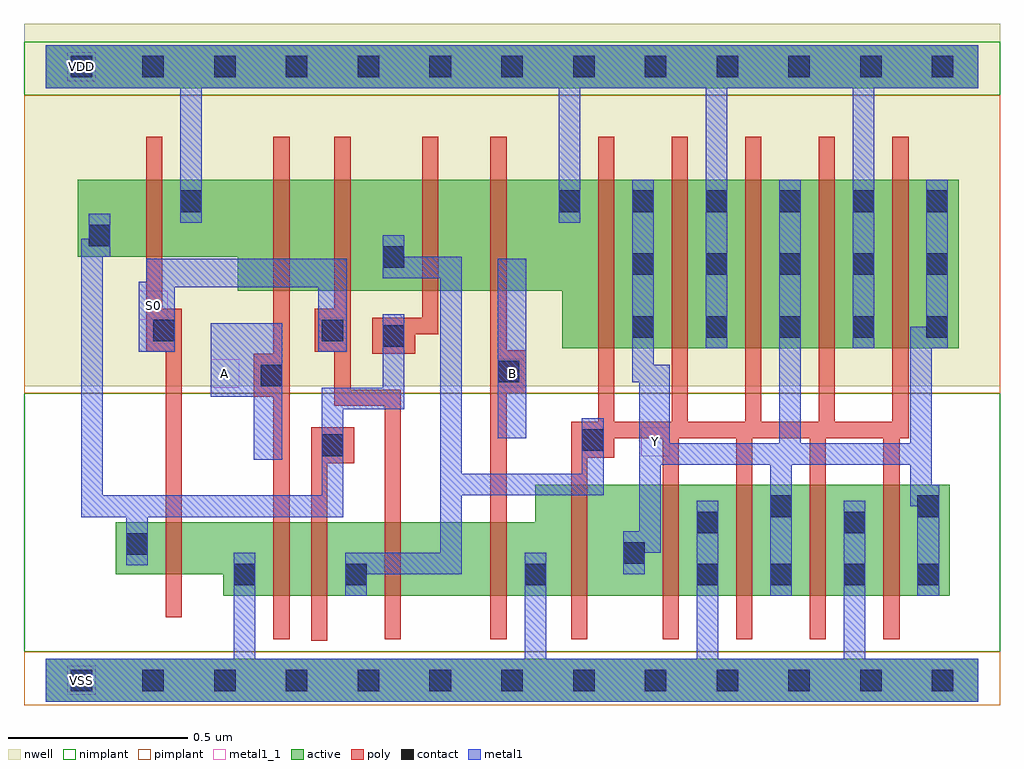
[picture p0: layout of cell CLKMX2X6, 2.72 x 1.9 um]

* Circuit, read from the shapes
.subckt CLKMX2X6 A B S0 VDD VSS Y
M1 VSS S0 n1 VSS nfet w=0.145u l=0.045u
M2 n2 A VSS VSS nfet w=0.205u l=0.045u
M3 n3 n1 n2 VSS nfet w=0.205u l=0.045u
M4 n4 S0 n3 VSS nfet w=0.205u l=0.045u
M5 VSS B n4 VSS nfet w=0.205u l=0.045u
M6 Y n3 VSS VSS nfet w=0.31u l=0.045u m=5
M7 VDD S0 n1 VDD pfet w=0.215u l=0.045u
M8 n5 A VDD VDD pfet w=0.31u l=0.045u
M9 n3 S0 n5 VDD pfet w=0.31u l=0.045u
M10 n6 n1 n3 VDD pfet w=0.31u l=0.045u
M11 VDD B n6 VDD pfet w=0.31u l=0.045u
M12 Y n3 VDD VDD pfet w=0.47u l=0.045u m=5
.ends

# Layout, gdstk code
import gdstk
lib = gdstk.Library(unit=1e-6, precision=5e-10)
def R(c, l, rs):  # rectangles x0, y0, x1, y1
    for r in rs: c.add(gdstk.rectangle(r[:2], r[2:], *l))
def A(c, l, x, y, w, h, nx, ny, dx, dy):  # array of equal rectangles
    R(c, l, [(x+i*dx, y+j*dy, x+i*dx+w, y+j*dy+h) for i in range(nx) for j in range(ny)])
def P(c, l, *ps):  # polygons
    for p in ps: c.add(gdstk.Polygon(p, *l))
active = (1, 0)
nwell = (2, 0)
poly = (3, 0)
nimplant = (4, 0)
pimplant = (5, 0)
contact = (6, 0)
metal1 = (7, 0)
metal1_1 = (7, 1)

clkmx2x6 = lib.new_cell('CLKMX2X6')
R(clkmx2x6, active, [(0,-0.06,2.6,0.06), (0,1.65,2.6,1.77)])
P(clkmx2x6, active, [(0.09,1.395),(2.545,1.395),(2.545,0.925),(1.44,0.925),(1.44,1.085),(0.535,1.085),(0.535,1.18),(0.09,1.18)],
  [(1.365,0.545),(2.52,0.545),(2.52,0.235),(0.495,0.235),(0.495,0.295),(0.195,0.295),(0.195,0.44),(1.365,0.44)])
R(clkmx2x6, nwell, [(-0.06,0.82,2.66,1.83)])
P(clkmx2x6, poly, [(0.28,1.515),(0.325,1.515),(0.325,1.035),(0.38,1.035),(0.38,0.175),(0.335,0.175),(0.335,0.915),(0.28,0.915)],
  [(0.635,1.515),(0.68,1.515),(0.68,0.115),(0.635,0.115),(0.635,0.79),(0.58,0.79),(0.58,0.91),(0.635,0.91)],
  [(0.805,1.515),(0.85,1.515),(0.85,0.81),(0.99,0.81),(0.99,0.115),(0.945,0.115),(0.945,0.765),(0.805,0.765),(0.805,0.915),(0.75,0.915),(0.75,1.035),(0.805,1.035)],
  [(1.05,1.515),(1.095,1.515),(1.095,0.965),(1.03,0.965),(1.03,0.91),(0.91,0.91),(0.91,1.01),(1.05,1.01)],
  [(1.24,1.515),(1.285,1.515),(1.285,0.92),(1.34,0.92),(1.34,0.8),(1.285,0.8),(1.285,0.115),(1.24,0.115)],
  [(1.54,1.515),(1.585,1.515),(1.585,0.72),(1.745,0.72),(1.745,1.515),(1.79,1.515),(1.79,0.72),(1.95,0.72),(1.95,1.515),(1.995,1.515),(1.995,0.72),(2.155,0.72),(2.155,1.515),(2.2,1.515),(2.2,0.72),(2.36,0.72),(2.36,1.515),(2.405,1.515),(2.405,0.675),(2.38,0.675),(2.38,0.115),(2.335,0.115),(2.335,0.675),(2.175,0.675),(2.175,0.115),(2.13,0.115),(2.13,0.675),(1.97,0.675),(1.97,0.115),(1.925,0.115),(1.925,0.675),(1.765,0.675),(1.765,0.115),(1.72,0.115),(1.72,0.675),(1.585,0.675),(1.585,0.62),(1.51,0.62),(1.51,0.115),(1.465,0.115),(1.465,0.72),(1.54,0.72)],
  [(0.74,0.705),(0.86,0.705),(0.86,0.605),(0.785,0.605),(0.785,0.11),(0.74,0.11)])
R(clkmx2x6, nimplant, [(-0.06,0.08,2.66,0.8), (-0.06,1.63,2.66,1.78)])
R(clkmx2x6, pimplant, [(-0.06,-0.07,2.66,0.08), (-0.06,0.8,2.66,1.63)])
A(clkmx2x6, contact, 0.07, -0.03, 0.06, 0.06, 13, 2, 0.2, 1.71)
A(clkmx2x6, contact, 1.815, 0.265, 0.06, 0.06, 4, 1, 0.205, 0)
A(clkmx2x6, contact, 1.635, 0.955, 0.06, 0.06, 5, 2, 0.205, 0.175)
A(clkmx2x6, contact, 1.43, 1.305, 0.06, 0.06, 6, 1, 0.205, 0)
R(clkmx2x6, contact, [(0.525,0.265,0.585,0.325), (0.835,0.265,0.895,0.325), (1.335,0.265,1.395,0.325), (1.61,0.325,1.67,0.385), (0.225,0.35,0.285,0.41), (1.815,0.41,1.875,0.47), (2.225,0.41,2.285,0.47), (2.02,0.455,2.08,0.515), (2.43,0.455,2.49,0.515), (0.77,0.625,0.83,0.685), (1.495,0.64,1.555,0.7), (0.6,0.82,0.66,0.88), (1.26,0.83,1.32,0.89), (0.94,0.93,1,0.99), (0.3,0.945,0.36,1.005), (0.77,0.945,0.83,1.005), (0.94,1.15,1,1.21), (0.12,1.21,0.18,1.27), (0.375,1.305,0.435,1.365)])
R(clkmx2x6, metal1, [(1.26,0.675,1.34,1.175)])
P(clkmx2x6, metal1, [(0,1.77),(2.6,1.77),(2.6,1.65),(2.31,1.65),(2.31,0.925),(2.25,0.925),(2.25,1.65),(1.9,1.65),(1.9,0.925),(1.84,0.925),(1.84,1.65),(1.49,1.65),(1.49,1.275),(1.43,1.275),(1.43,1.65),(0.435,1.65),(0.435,1.275),(0.375,1.275),(0.375,1.65),(0,1.65)],
  [(0.12,1.3),(0.18,1.3),(0.18,1.18),(0.16,1.18),(0.16,0.515),(0.77,0.515),(0.77,0.815),(0.94,0.815),(0.94,1.02),(1,1.02),(1,0.755),(0.83,0.755),(0.83,0.455),(0.285,0.455),(0.285,0.32),(0.225,0.32),(0.225,0.455),(0.1,0.455),(0.1,1.23),(0.12,1.23)],
  [(0.94,1.24),(1,1.24),(1,1.18),(1.16,1.18),(1.16,0.575),(1.495,0.575),(1.495,0.73),(1.555,0.73),(1.555,0.515),(1.16,0.515),(1.16,0.295),(0.895,0.295),(0.895,0.235),(0.835,0.235),(0.835,0.355),(1.1,0.355),(1.1,1.12),(0.94,1.12)],
  [(0.28,1.175),(0.84,1.175),(0.84,0.915),(0.76,0.915),(0.76,1.095),(0.36,1.095),(0.36,0.915),(0.26,0.915),(0.26,1.11),(0.28,1.11)],
  [(0.46,0.995),(0.66,0.995),(0.66,0.615),(0.58,0.615),(0.58,0.79),(0.46,0.79)],
  [(1.635,1.395),(1.695,1.395),(1.695,0.88),(1.74,0.88),(1.74,0.66),(2.045,0.66),(2.045,1.395),(2.105,1.395),(2.105,0.66),(2.41,0.66),(2.41,0.985),(2.455,0.985),(2.455,1.395),(2.515,1.395),(2.515,0.925),(2.47,0.925),(2.47,0.545),(2.49,0.545),(2.49,0.235),(2.43,0.235),(2.43,0.485),(2.41,0.485),(2.41,0.6),(2.08,0.6),(2.08,0.235),(2.02,0.235),(2.02,0.6),(1.715,0.6),(1.715,0.355),(1.67,0.355),(1.67,0.295),(1.61,0.295),(1.61,0.415),(1.655,0.415),(1.655,0.83),(1.635,0.83)],
  [(0.525,0.355),(0.585,0.355),(0.585,0.06),(1.335,0.06),(1.335,0.355),(1.395,0.355),(1.395,0.06),(1.815,0.06),(1.815,0.5),(1.875,0.5),(1.875,0.06),(2.225,0.06),(2.225,0.5),(2.285,0.5),(2.285,0.06),(2.6,0.06),(2.6,-0.06),(0,-0.06),(0,0.06),(0.525,0.06)])
R(clkmx2x6, metal1_1, [(0.06,-0.04,0.14,0.04), (1.66,0.625,1.74,0.705), (0.46,0.815,0.54,0.895), (1.26,0.815,1.34,0.895), (0.26,1.005,0.34,1.085), (0.06,1.67,0.14,1.75)])
clkmx2x6.add(gdstk.Label('Y', (1.7,0.665), layer=7, texttype=1))
clkmx2x6.add(gdstk.Label('B', (1.3,0.855), layer=7, texttype=1))
clkmx2x6.add(gdstk.Label('A', (0.5,0.855), layer=7, texttype=1))
clkmx2x6.add(gdstk.Label('S0', (0.3,1.045), layer=7, texttype=1))
clkmx2x6.add(gdstk.Label('VDD', (0.1,1.71), layer=7, texttype=1))
clkmx2x6.add(gdstk.Label('VSS', (0.1,0), layer=7, texttype=1))
clkmx2x6.add(gdstk.Label('CLKMX2X6', (0,0), layer=63, texttype=0))

lib.write_gds('CLKMX2X6.gds')
